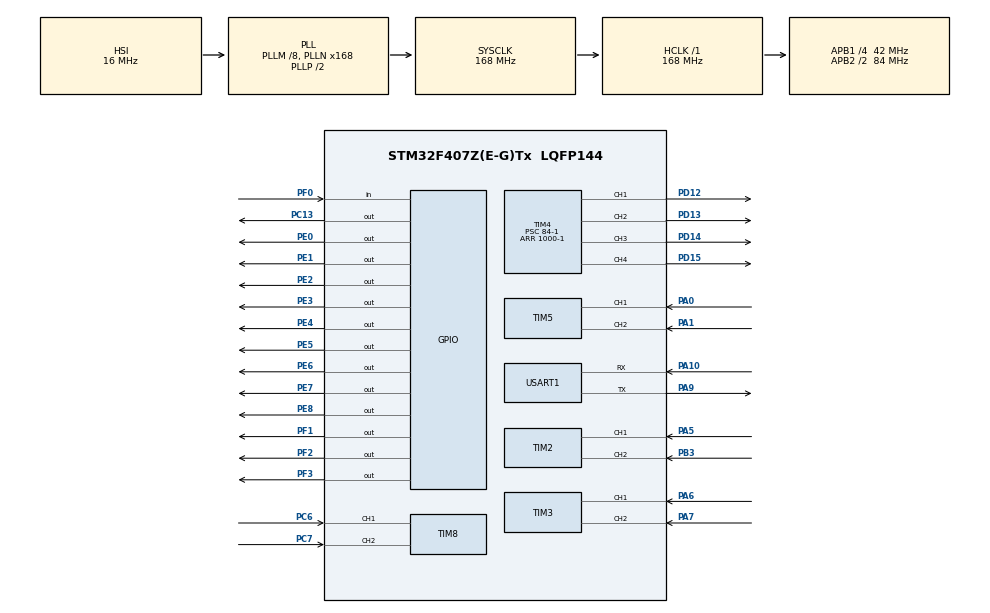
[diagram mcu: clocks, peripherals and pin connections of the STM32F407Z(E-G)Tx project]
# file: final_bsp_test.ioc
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FREERTOS.Queues01=ps2_data,1,20,1,Dynamic,NULL,NULL
FREERTOS.Tasks01=defaultTask,0,512,StartDefaultTask,Default,NULL,Dynamic,NULL,NULL;Task_motor,2,512,StartTask_motor,Default,NULL,Dynamic,NULL,NULL;Task_ps2,0,128,StartTask_ps2,Default,NULL,Dynamic,NULL,NULL
FREERTOS.configUSE_NEWLIB_REENTRANT=1
Mcu.Family=STM32F4
Mcu.Name=STM32F407Z(E-G)Tx
Mcu.Package=LQFP144
NVIC.PriorityGroup=NVIC_PRIORITYGROUP_4
NVIC.TIM7_IRQn=true\:15\:0\:false\:false\:true\:false\:false\:true
NVIC.TimeBase=TIM7_IRQn
NVIC.TimeBaseIP=TIM7
PA0-WKUP.Signal=S_TIM5_CH1
PA1.Signal=S_TIM5_CH2
PA10.Mode=Asynchronous
PA10.Signal=USART1_RX
PA13.Mode=Serial_Wire
PA13.Signal=SYS_JTMS-SWDIO
PA14.Mode=Serial_Wire
PA14.Signal=SYS_JTCK-SWCLK
PA5.Signal=S_TIM2_CH1_ETR
PA6.Signal=S_TIM3_CH1
PA7.Signal=S_TIM3_CH2
PA9.Mode=Asynchronous
PA9.Signal=USART1_TX
PB3.Signal=S_TIM2_CH2
PC13-ANTI_TAMP.Signal=GPIO_Output
PC14-OSC32_IN.Mode=LSE-External-Oscillator
PC14-OSC32_IN.Signal=RCC_OSC32_IN
PC15-OSC32_OUT.Mode=LSE-External-Oscillator
PC15-OSC32_OUT.Signal=RCC_OSC32_OUT
PC6.Signal=S_TIM8_CH1
PC7.Signal=S_TIM8_CH2
PD12.Signal=S_TIM4_CH1
PD13.Signal=S_TIM4_CH2
PD14.Signal=S_TIM4_CH3
PD15.Signal=S_TIM4_CH4
PE0.GPIO_Speed=GPIO_SPEED_FREQ_HIGH
PE0.Signal=GPIO_Output
PE1.GPIO_Speed=GPIO_SPEED_FREQ_HIGH
PE1.Signal=GPIO_Output
PE2.GPIO_Speed=GPIO_SPEED_FREQ_HIGH
PE2.Signal=GPIO_Output
PE3.GPIO_Speed=GPIO_SPEED_FREQ_HIGH
PE3.Signal=GPIO_Output
PE4.GPIO_Speed=GPIO_SPEED_FREQ_HIGH
PE4.Signal=GPIO_Output
PE5.GPIO_Speed=GPIO_SPEED_FREQ_HIGH
PE5.Signal=GPIO_Output
PE6.GPIO_Speed=GPIO_SPEED_FREQ_HIGH
PE6.Signal=GPIO_Output
PE7.GPIO_Speed=GPIO_SPEED_FREQ_HIGH
PE7.Signal=GPIO_Output
PE8.GPIO_Speed=GPIO_SPEED_FREQ_LOW
PE8.PinState=GPIO_PIN_RESET
PE8.Signal=GPIO_Output
PF0.GPIO_PuPd=GPIO_PULLUP
PF0.Signal=GPIO_Input
PF1.GPIO_PuPd=GPIO_PULLUP
PF1.GPIO_Speed=GPIO_SPEED_FREQ_HIGH
PF1.Signal=GPIO_Output
PF2.GPIO_PuPd=GPIO_PULLUP
PF2.GPIO_Speed=GPIO_SPEED_FREQ_HIGH
PF2.Signal=GPIO_Output
PF3.GPIO_PuPd=GPIO_PULLUP
PF3.GPIO_Speed=GPIO_SPEED_FREQ_HIGH
PF3.Signal=GPIO_Output
PH0-OSC_IN.Mode=HSE-External-Oscillator
PH0-OSC_IN.Signal=RCC_OSC_IN
PH1-OSC_OUT.Mode=HSE-External-Oscillator
PH1-OSC_OUT.Signal=RCC_OSC_OUT
ProjectManager.HeapSize=0x200
ProjectManager.StackSize=0x400
ProjectManager.TargetToolchain=STM32CubeIDE
RCC.48MHZClocksFreq_Value=84000000
RCC.AHBFreq_Value=168000000
RCC.APB1CLKDivider=RCC_HCLK_DIV4
RCC.APB1Freq_Value=42000000
RCC.APB1TimFreq_Value=84000000
RCC.APB2CLKDivider=RCC_HCLK_DIV2
RCC.APB2Freq_Value=84000000
RCC.APB2TimFreq_Value=168000000
RCC.CortexFreq_Value=168000000
RCC.HCLKFreq_Value=168000000
RCC.HSE_VALUE=25000000
RCC.HSI_VALUE=16000000
RCC.PLLM=8
RCC.PLLN=168
RCC.SYSCLKFreq_VALUE=168000000
RCC.SYSCLKSource=RCC_SYSCLKSOURCE_PLLCLK
RCC.VCOOutputFreq_Value=336000000
SH.S_TIM2_CH1_ETR.0=TIM2_CH1,Encoder_Interface
SH.S_TIM2_CH2.0=TIM2_CH2,Encoder_Interface
SH.S_TIM3_CH1.0=TIM3_CH1,Encoder_Interface
SH.S_TIM3_CH2.0=TIM3_CH2,Encoder_Interface
SH.S_TIM4_CH1.0=TIM4_CH1,PWM Generation1 CH1
SH.S_TIM4_CH2.0=TIM4_CH2,PWM Generation2 CH2
SH.S_TIM4_CH3.0=TIM4_CH3,PWM Generation3 CH3
SH.S_TIM4_CH4.0=TIM4_CH4,PWM Generation4 CH4
SH.S_TIM5_CH1.0=TIM5_CH1,Encoder_Interface
SH.S_TIM5_CH2.0=TIM5_CH2,Encoder_Interface
SH.S_TIM8_CH1.0=TIM8_CH1,Encoder_Interface
SH.S_TIM8_CH2.0=TIM8_CH2,Encoder_Interface
TIM4.Channel-PWM\ Generation1\ CH1=TIM_CHANNEL_1
TIM4.Channel-PWM\ Generation2\ CH2=TIM_CHANNEL_2
TIM4.Channel-PWM\ Generation3\ CH3=TIM_CHANNEL_3
TIM4.Channel-PWM\ Generation4\ CH4=TIM_CHANNEL_4
TIM4.Period=1000-1
TIM4.Prescaler=84-1
USART1.VirtualMode=VM_ASYNC
VP_FREERTOS_VS_CMSIS_V1.Mode=CMSIS_V1
VP_SYS_VS_tim7.Mode=TIM7
VP_TIM4_VS_ClockSourceINT.Mode=Internal
board=custom

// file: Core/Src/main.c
/* USER CODE BEGIN Header */
/**
  ******************************************************************************
  * @file           : main.c
  * @brief          : Main program body
  ******************************************************************************
  * @attention
  *
  * Copyright (c) 2026 STMicroelectronics.
  * All rights reserved.
  *
  * This software is licensed under terms that can be found in the LICENSE file
  * in the root directory of this software component.
  * If no LICENSE file comes with this software, it is provided AS-IS.
  *
  ******************************************************************************
  */
/* USER CODE END Header */
#include "main.h"
#include "cmsis_os.h"
#include "tim.h"
#include "usart.h"
#include "gpio.h"

/* USER CODE BEGIN Includes */
#include "motor.h"
#include "ps2.h"
#include <stdio.h>
#include <math.h>
#include <stdlib.h>
/* USER CODE END Includes */

/* USER CODE BEGIN PV */
JOYSTICK_TypeDef ps2_pad;//创�?�结构体
/* USER CODE END PV */

void SystemClock_Config(void);
void MX_FREERTOS_Init(void);

/* USER CODE BEGIN 0 */
// 声明外部的串�??????1句柄
extern UART_HandleTypeDef huart1;

extern TIM_HandleTypeDef htim4; // 声明定时器句�????

/* USER CODE END 0 */

int main(void)
{

  /* MCU Configuration--------------------------------------------------------*/

  /* Reset of all peripherals, Initializes the Flash interface and the Systick. */
  HAL_Init();

  /* Configure the system clock */
  SystemClock_Config();

  /* Initialize all configured peripherals */
  MX_GPIO_Init();
  MX_USART1_UART_Init();
  MX_TIM4_Init();
  MX_TIM2_Init();
  MX_TIM3_Init();
  MX_TIM5_Init();
  MX_TIM8_Init();
  /* USER CODE BEGIN 2 */

    printf("System Start...\r\n"); // 启动提示
    HAL_GPIO_WritePin(GPIOE, GPIO_PIN_8, GPIO_PIN_SET);

      //pwm tim4启动
      HAL_TIM_PWM_Start(&htim4, TIM_CHANNEL_1);
      HAL_TIM_PWM_Start(&htim4, TIM_CHANNEL_2);
      HAL_TIM_PWM_Start(&htim4, TIM_CHANNEL_3);
      HAL_TIM_PWM_Start(&htim4, TIM_CHANNEL_4);

      HAL_TIM_Encoder_Start(&htim2, TIM_CHANNEL_ALL); // �??启编码器模式
      __HAL_TIM_SET_COUNTER(&htim2, 0);               // 初始计数值清�??

      HAL_TIM_Encoder_Start(&htim3, TIM_CHANNEL_ALL); // �??启编码器模式
      __HAL_TIM_SET_COUNTER(&htim3, 0);               // 初始计数值清�??

      HAL_TIM_Encoder_Start(&htim5, TIM_CHANNEL_ALL); // �??启编码器模式
      __HAL_TIM_SET_COUNTER(&htim5, 0);               // 初始计数值清�??

      HAL_TIM_Encoder_Start(&htim8, TIM_CHANNEL_ALL); // �??启编码器模式
      __HAL_TIM_SET_COUNTER(&htim8, 0);               // 初始计数值清�??

  /* USER CODE END 2 */

  /* Call init function for freertos objects (in freertos.c) */
  MX_FREERTOS_Init();
  /* Start scheduler */
  osKernelStart();

  /* We should never get here as control is now taken by the scheduler */
  /* Infinite loop */
      while (1)
        {

    /* USER CODE BEGIN 3 */
    	  /*
            // 读取手柄

            // 发�?�给电机�????
            M1_SetSpeed(speed);
            M2_SetSpeed(speed/4);
            M3_SetSpeed(speed/2);
            M4_SetSpeed(speed/3);

            //读取速度
            M1_SPEED=M1_Get_Speed();
            M2_SPEED=M2_Get_Speed();
            M3_SPEED=M3_Get_Speed();
            M4_SPEED=M4_Get_Speed();
            // 打印出来看看
            printf("Joy: %d, Speed: %d,MODE:%d \r\n", ps2_pad.LJoy_UD, speed,ps2_pad.mode);
            printf("M1: %d ,M2: %hd ,M3: %d ,M4: %hd \r\n",M1_SPEED,M2_SPEED,M3_SPEED,M4_SPEED);
            HAL_Delay(20);*/
        }
  /* USER CODE END 3 */
}

void SystemClock_Config(void)
{
  RCC_OscInitTypeDef RCC_OscInitStruct = {0};
  RCC_ClkInitTypeDef RCC_ClkInitStruct = {0};

  /** Configure the main internal regulator output voltage
  */
  __HAL_RCC_PWR_CLK_ENABLE();
  __HAL_PWR_VOLTAGESCALING_CONFIG(PWR_REGULATOR_VOLTAGE_SCALE1);
  /** Initializes the RCC Oscillators according to the specified parameters
  * in the RCC_OscInitTypeDef structure.
  */
  RCC_OscInitStruct.OscillatorType = RCC_OSCILLATORTYPE_HSI;
  RCC_OscInitStruct.HSIState = RCC_HSI_ON;
  RCC_OscInitStruct.HSICalibrationValue = RCC_HSICALIBRATION_DEFAULT;
  RCC_OscInitStruct.PLL.PLLState = RCC_PLL_ON;
  RCC_OscInitStruct.PLL.PLLSource = RCC_PLLSOURCE_HSI;
  RCC_OscInitStruct.PLL.PLLM = 8;
  RCC_OscInitStruct.PLL.PLLN = 168;
  RCC_OscInitStruct.PLL.PLLP = RCC_PLLP_DIV2;
  RCC_OscInitStruct.PLL.PLLQ = 4;
  if (HAL_RCC_OscConfig(&RCC_OscInitStruct) != HAL_OK)
  {
    Error_Handler();
  }
  /** Initializes the CPU, AHB and APB buses clocks
  */
  RCC_ClkInitStruct.ClockType = RCC_CLOCKTYPE_HCLK|RCC_CLOCKTYPE_SYSCLK
                              |RCC_CLOCKTYPE_PCLK1|RCC_CLOCKTYPE_PCLK2;
  RCC_ClkInitStruct.SYSCLKSource = RCC_SYSCLKSOURCE_PLLCLK;
  RCC_ClkInitStruct.AHBCLKDivider = RCC_SYSCLK_DIV1;
  RCC_ClkInitStruct.APB1CLKDivider = RCC_HCLK_DIV4;
  RCC_ClkInitStruct.APB2CLKDivider = RCC_HCLK_DIV2;

  if (HAL_RCC_ClockConfig(&RCC_ClkInitStruct, FLASH_LATENCY_5) != HAL_OK)
  {
    Error_Handler();
  }
}

void HAL_TIM_PeriodElapsedCallback(TIM_HandleTypeDef *htim)
{
  if (htim->Instance == TIM7) {
    HAL_IncTick();
  }
}

void Error_Handler(void)
{
  __disable_irq();
  while (1)
  {
  }
}

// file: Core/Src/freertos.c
/* USER CODE BEGIN Header */
/**
  ******************************************************************************
  * File Name          : freertos.c
  * Description        : Code for freertos applications
  ******************************************************************************
  * @attention
  *
  * Copyright (c) 2026 STMicroelectronics.
  * All rights reserved.
  *
  * This software is licensed under terms that can be found in the LICENSE file
  * in the root directory of this software component.
  * If no LICENSE file comes with this software, it is provided AS-IS.
  *
  ******************************************************************************
  */
/* USER CODE END Header */

#include "FreeRTOS.h"
#include "task.h"
#include "main.h"
#include "cmsis_os.h"

/* USER CODE BEGIN Includes */
#include "motor.h"
#include "ps2.h"
#include <stdio.h>
#include <math.h>
#include <stdlib.h>
#include "queue.h"
#include "pid.h"
/* USER CODE END Includes */

/* USER CODE BEGIN PTD */
PID_TypeDef PID_M1, PID_M2, PID_M3, PID_M4;
extern Motor_t Chassis_Motors[4];
/* USER CODE END PTD */

/* USER CODE BEGIN PM */
extern UART_HandleTypeDef huart1;
extern JOYSTICK_TypeDef ps2_pad;
extern TIM_HandleTypeDef htim4; // 声明定时器句�?????
/* USER CODE END PM */

/* USER CODE BEGIN Variables */
QueueHandle_t ps2_dataHandle;
/* USER CODE END Variables */
osThreadId defaultTaskHandle;
osThreadId Task_motorHandle;
osThreadId Task_ps2Handle;
//osMessageQId ps2_dataHandle;

void StartDefaultTask(void const * argument);
void StartTask_motor(void const * argument);
void StartTask_ps2(void const * argument);

void MX_FREERTOS_Init(void); /* (MISRA C 2004 rule 8.1) */

/* GetIdleTaskMemory prototype (linked to static allocation support) */
void vApplicationGetIdleTaskMemory( StaticTask_t **ppxIdleTaskTCBBuffer, StackType_t **ppxIdleTaskStackBuffer, uint32_t *pulIdleTaskStackSize );

/* USER CODE BEGIN GET_IDLE_TASK_MEMORY */
static StaticTask_t xIdleTaskTCBBuffer;
static StackType_t xIdleStack[configMINIMAL_STACK_SIZE];

void vApplicationGetIdleTaskMemory( StaticTask_t **ppxIdleTaskTCBBuffer, StackType_t **ppxIdleTaskStackBuffer, uint32_t *pulIdleTaskStackSize )
{
  *ppxIdleTaskTCBBuffer = &xIdleTaskTCBBuffer;
  *ppxIdleTaskStackBuffer = &xIdleStack[0];
  *pulIdleTaskStackSize = configMINIMAL_STACK_SIZE;
  /* place for user code */
}
/* USER CODE END GET_IDLE_TASK_MEMORY */

void MX_FREERTOS_Init(void) {

  /* Create the queue(s) */
  /* definition and creation of ps2_data */
	 /*osMessageQDef(ps2_data, 1, 20);
  ps2_dataHandle = osMessageCreate(osMessageQ(ps2_data), NULL);    */

  /* USER CODE BEGIN RTOS_QUEUES */
  /* add queues, ... */
  ps2_dataHandle = xQueueCreate(1, sizeof(CtrlCmd_t));
  /* USER CODE END RTOS_QUEUES */

  /* Create the thread(s) */
  /* definition and creation of defaultTask */
  osThreadDef(defaultTask, StartDefaultTask, osPriorityNormal, 0, 512);
  defaultTaskHandle = osThreadCreate(osThread(defaultTask), NULL);

  /* definition and creation of Task_motor */
  osThreadDef(Task_motor, StartTask_motor, osPriorityHigh, 0, 512);
  Task_motorHandle = osThreadCreate(osThread(Task_motor), NULL);

  /* definition and creation of Task_ps2 */
  osThreadDef(Task_ps2, StartTask_ps2, osPriorityNormal, 0, 128);
  Task_ps2Handle = osThreadCreate(osThread(Task_ps2), NULL);

}

void StartDefaultTask(void const * argument)
{
  for(;;)
  {
    osDelay(1);
  }
}

void StartTask_motor(void const * argument)
{
  /* USER CODE BEGIN StartTask_motor */
	for(int i = 0; i < 4; i++)
	{
	      PID_Init(&(Chassis_Motors[i].pid), 3.0f, 0.2f, 0.0f);
	}
  CtrlCmd_t recv_cmd;
  /* Infinite loop */
for(;;)
{
	if(xQueueReceive(ps2_dataHandle, &recv_cmd, pdMS_TO_TICKS(200)) == pdPASS)
	{
		//printf("Queue OK! Valid: %d, Vy: %d,Vx: %d\r\n", recv_cmd.is_valid, (int)recv_cmd.vy,(int)recv_cmd.vx);
		if(recv_cmd.is_valid==1)
		{
			float vx = recv_cmd.vx * 7.0f;
			float vy = recv_cmd.vy * 7.0f;
			float omega = recv_cmd.omega * 7.0f;
			//合成每个轮子的目标速度
			Chassis_Motors[0].target_speed = (int)(vy + vx + omega);
			Chassis_Motors[1].target_speed = (int)(vy - vx - omega);
			Chassis_Motors[2].target_speed = (int)(vy + vx - omega);
			Chassis_Motors[3].target_speed = (int)(vy - vx + omega);

			for(int i = 0; i < 4; i++)
			{
			  Chassis_Motors[i].actual_speed = Motor_GetSpeed(&Chassis_Motors[i]);
			  int pwm = PID_Calc(&(Chassis_Motors[i].pid), Chassis_Motors[i].target_speed, Chassis_Motors[i].actual_speed);
			  Motor_SetSpeed(&Chassis_Motors[i], pwm);
			}
		}
		else
		{
			Emergency_Stop();
		}
	}
	else
	{
		Emergency_Stop();
	}
    osDelay(20);
  }
  /* USER CODE END StartTask_motor */
}

void StartTask_ps2(void const * argument)
{
  /* USER CODE BEGIN StartTask_ps2 */
	CtrlCmd_t send_cmd = {0.0f, 0.0f, 0.0f, 0};
  /* Infinite loop */
  for(;;)
  {
      PS2_ScanKey(&ps2_pad);
      //printf("Joy: %d ,MODE:%d \r\n", ps2_pad.LJoy_UD,ps2_pad.mode);
      if(ps2_pad.mode==115)
      {
    	//遥杆死区设置
    	send_cmd.vx = (abs(ps2_pad.LJoy_LR - 128) < 10) ? 0 : (ps2_pad.LJoy_LR - 128);
    	send_cmd.vy = (abs(ps2_pad.LJoy_UD - 128) < 10) ? 0 : (128 - ps2_pad.LJoy_UD);
    	send_cmd.omega = (abs(ps2_pad.RJoy_LR - 128) < 10) ? 0 : (ps2_pad.RJoy_LR - 128);
    	send_cmd.is_valid = 1;
      }
      else
      {
    	  send_cmd.is_valid = 0;
    	  send_cmd.vx = 0;
    	  send_cmd.vy = 0;
    	  send_cmd.omega = 0;
      }
    xQueueOverwrite(ps2_dataHandle, &send_cmd);
    osDelay(50);
  }
  /* USER CODE END StartTask_ps2 */
}
